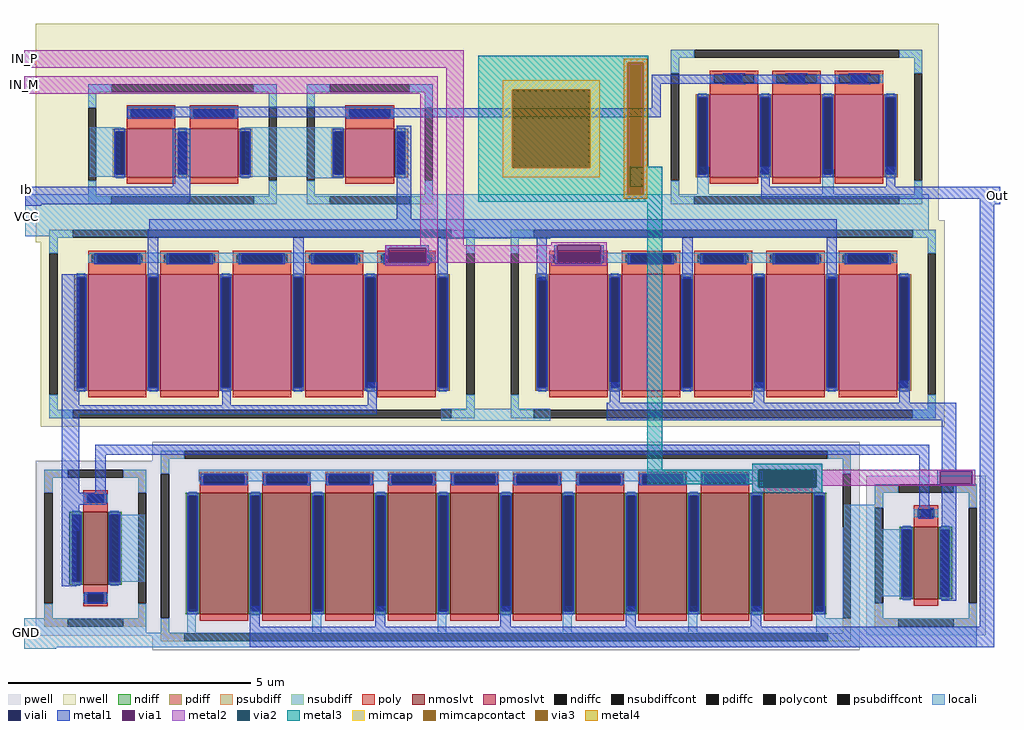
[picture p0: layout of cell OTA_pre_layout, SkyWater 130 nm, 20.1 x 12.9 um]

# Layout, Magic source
magic
tech sky130A
magscale 1 2
<< nwell >>
rect -4020 2850 -300 3660
rect -4020 2760 -275 2850
rect -4000 2088 -2725 2275
rect -2250 2000 -1900 2760
rect -1350 2508 -275 2760
<< locali >>
rect -3798 3030 -3672 3234
rect -3156 3030 -2754 3234
rect -2898 3024 -2754 3030
rect -1296 2958 -1248 3072
rect -780 2958 -732 3060
rect -4062 2784 -342 2958
rect -2350 2775 -1900 2784
rect -3798 2676 -2376 2718
rect -1884 2676 -474 2718
rect -2350 2025 -1900 2075
rect -3348 1776 -804 1824
rect -3708 1362 -3570 1638
rect -690 1584 -540 1680
rect -696 1578 -540 1584
rect -696 1302 -420 1578
rect -4068 1152 -3564 1212
rect -3396 1152 -3360 1248
rect -2880 1152 -2844 1248
rect -2364 1152 -2328 1248
rect -1848 1152 -1812 1260
rect -1332 1152 -1296 1260
rect -804 1212 -768 1260
rect -696 1212 -540 1302
rect -804 1152 -144 1212
rect -4068 1092 -144 1152
rect -4068 1086 -3936 1092
<< metal1 >>
rect -1482 3414 -546 3450
rect -3642 3312 -2550 3318
rect -1482 3312 -1446 3414
rect -3642 3276 -1446 3312
rect -3456 2988 -3384 3228
rect -4062 2928 -3384 2988
rect -4062 2922 -3390 2928
rect -4062 2916 -3396 2922
rect -4062 2910 -3996 2916
rect -2532 2856 -2472 3240
rect -1032 2988 -996 3072
rect -516 2988 -480 3072
rect -1032 2940 -48 2988
rect -132 2916 -48 2940
rect -3552 2814 -720 2856
rect -3558 2778 -720 2814
rect -3912 2088 -3840 2628
rect -3558 2616 -3516 2778
rect -2958 2616 -2916 2778
rect -2580 2736 -2400 2748
rect -2580 2676 -2568 2736
rect -2412 2676 -2400 2736
rect -2580 2664 -2400 2676
rect -2364 2616 -2322 2778
rect -1956 2604 -1914 2778
rect -1884 2676 -1872 2748
rect -1692 2676 -1680 2748
rect -1356 2610 -1314 2778
rect -762 2610 -720 2778
rect -3252 2088 -3216 2160
rect -2652 2088 -2616 2184
rect -1656 2100 -1614 2184
rect -1062 2100 -1020 2184
rect -462 2100 -420 2190
rect -3912 2052 -2616 2088
rect -3912 1728 -3840 2052
rect -1668 2028 -228 2100
rect -3774 1884 -339 1926
rect -3774 1728 -3732 1884
rect -1020 1818 -804 1824
rect -1020 1764 -990 1818
rect -828 1764 -804 1818
rect -1020 1758 -804 1764
rect -3912 1680 -3732 1728
rect -3912 1572 -3840 1680
rect -381 1623 -339 1884
rect -288 1824 -228 2028
rect -306 1818 -162 1824
rect -306 1764 -294 1818
rect -306 1758 -162 1764
rect -3912 1344 -3852 1572
rect -288 1284 -228 1758
rect -3138 1176 -3096 1260
rect -2622 1176 -2580 1260
rect -2106 1176 -2064 1260
rect -1590 1176 -1548 1260
rect -1074 1176 -1032 1260
rect -132 1176 -72 2916
rect -3138 1092 -72 1176
<< via1 >>
rect -2568 2676 -2412 2736
rect -1872 2676 -1692 2748
rect -990 1764 -828 1818
rect -294 1764 -162 1818
<< metal2 >>
rect -4068 3480 -2256 3552
rect -4068 3372 -2364 3444
rect -2436 2748 -2364 3372
rect -2580 2736 -2364 2748
rect -2580 2676 -2568 2736
rect -2412 2676 -2364 2736
rect -2328 2748 -2256 3480
rect -1896 2748 -1668 2760
rect -2328 2676 -1872 2748
rect -1692 2676 -1668 2748
rect -2580 2664 -2400 2676
rect -1896 2664 -1668 2676
rect -1068 1824 -780 1848
rect -1068 1752 -1044 1824
rect -804 1818 -150 1824
rect -804 1764 -294 1818
rect -162 1764 -150 1818
rect -804 1758 -150 1764
rect -804 1752 -780 1758
rect -1068 1728 -780 1752
<< via2 >>
rect -1044 1818 -804 1824
rect -1044 1764 -990 1818
rect -990 1764 -828 1818
rect -828 1764 -804 1818
rect -1044 1752 -804 1764
<< metal3 >>
rect -1572 2988 -1440 3072
rect -1500 1824 -1440 2988
rect -1068 1824 -780 1848
rect -1500 1764 -1044 1824
rect -1068 1752 -1044 1764
rect -804 1752 -780 1824
rect -1068 1728 -780 1752
use sky130_fd_pr__pfet_01v8_lvt_UXWVYC  XM2
transform 1 0 -3088 0 1 2424
box -912 -424 912 424
use sky130_fd_pr__nfet_01v8_lvt_9MXGXM  XM3
transform 1 0 -353 0 1 1470
box -246 -329 246 329
use sky130_fd_pr__nfet_01v8_lvt_PVELEM  XM4
transform 1 0 -3774 0 1 1500
box -246 -360 246 360
use sky130_fd_pr__pfet_01v8_lvt_P7LFVU  XM5
transform 1 0 -886 0 1 3235
box -554 -355 554 355
use sky130_fd_pr__nfet_01v8_lvt_E8GDTS  XM6
transform 1 0 -2083 0 1 1509
box -1457 -429 1457 429
use sky130_fd_pr__pfet_01v8_lvt_SPR9VP  XM7
transform 1 0 -2644 0 1 3164
box -296 -284 296 284
use sky130_fd_pr__pfet_01v8_lvt_7PHJSE  XM8
transform 1 0 -3415 0 1 3164
box -425 -284 425 284
use sky130_fd_pr__cap_mim_m3_1_FJFAMD  sky130_fd_pr__cap_mim_m3_1_FJFAMD_0
transform 1 0 -1846 0 1 3228
box -350 -300 349 300
use sky130_fd_pr__pfet_01v8_lvt_UXWVYC  sky130_fd_pr__pfet_01v8_lvt_UXWVYC_0
transform 1 0 -1188 0 1 2424
box -912 -424 912 424
<< labels >>
flabel metal2 -4068 3408 -4068 3408 0 FreeSans 80 0 0 0 IN_M
port 1 nsew
flabel metal2 -4068 3516 -4068 3516 0 FreeSans 80 0 0 0 IN_P
port 2 nsew
flabel metal1 -4056 2976 -4056 2976 0 FreeSans 80 0 0 0 Ib
port 3 nsew
flabel locali -4056 2868 -4056 2868 0 FreeSans 80 0 0 0 VCC
port 5 nsew
flabel locali -4056 1152 -4056 1152 0 FreeSans 80 0 0 0 GND
port 6 nsew
flabel metal1 -60 2952 -60 2952 0 FreeSans 80 0 0 0 Out
port 7 nsew
<< end >>

# cell sky130_fd_pr__pfet_01v8_lvt_UXWVYC: kit device sky130_fd_pr__pfet_01v8_lvt, w 2.4 l 1.2 m 1 nf 5 diffcov 100 polycov 100 guard 1 glc 1 grc 1 gtc 1 gbc 1 tbcov 100 rlcov 100 topc 1 botc 0 poverlap 0 doverlap 1 lmin 0.35 wmin 0.42 compatible {sky130_fd_pr__pfet_01v8 sky130_fd_pr__pfet_01v8_lvt sky130_fd_pr__pfet_01v8_hvt sky130_fd_pr__pfet_g5v0d10v5} full_metal 1 viasrc 100 viadrn 100 viagate 80 viagb 0 viagr 0 viagl 0 viagt 0

# cell sky130_fd_pr__nfet_01v8_lvt_9MXGXM: kit device sky130_fd_pr__nfet_01v8_lvt, w 1.5 l 0.5 m 1 nf 1 diffcov 100 polycov 100 guard 1 glc 1 grc 1 gtc 1 gbc 1 tbcov 100 rlcov 100 topc 1 botc 0 poverlap 0 doverlap 1 lmin 0.15 wmin 0.42 compatible {sky130_fd_pr__nfet_01v8 sky130_fd_pr__nfet_01v8_lvt sky130_fd_bs_flash__special_sonosfet_star sky130_fd_pr__nfet_g5v0d10v5 sky130_fd_pr__nfet_05v0_nvt sky130_fd_pr__nfet_03v3_nvt} full_metal 1 viasrc 100 viadrn 100 viagate 60 viagb 0 viagr 0 viagl 0 viagt 0

# cell sky130_fd_pr__nfet_01v8_lvt_PVELEM: kit device sky130_fd_pr__nfet_01v8_lvt, w 1.5 l 0.5 m 1 nf 1 diffcov 100 polycov 100 guard 1 glc 1 grc 1 gtc 1 gbc 1 tbcov 100 rlcov 100 topc 1 botc 1 poverlap 0 doverlap 1 lmin 0.15 wmin 0.42 compatible {sky130_fd_pr__nfet_01v8 sky130_fd_pr__nfet_01v8_lvt sky130_fd_bs_flash__special_sonosfet_star sky130_fd_pr__nfet_g5v0d10v5 sky130_fd_pr__nfet_05v0_nvt sky130_fd_pr__nfet_03v3_nvt} full_metal 1 viasrc 100 viadrn 100 viagate 100 viagb 0 viagr 0 viagl 0 viagt 0

# cell sky130_fd_pr__pfet_01v8_lvt_P7LFVU: kit device sky130_fd_pr__pfet_01v8_lvt, w 1.706 l 1.0 m 1 nf 3 diffcov 100 polycov 100 guard 1 glc 1 grc 1 gtc 1 gbc 1 tbcov 100 rlcov 100 topc 1 botc 0 poverlap 0 doverlap 1 lmin 0.35 wmin 0.42 compatible {sky130_fd_pr__pfet_01v8 sky130_fd_pr__pfet_01v8_lvt sky130_fd_pr__pfet_01v8_hvt sky130_fd_pr__pfet_g5v0d10v5} full_metal 1 viasrc 100 viadrn 100 viagate 40 viagb 0 viagr 0 viagl 0 viagt 0

# cell sky130_fd_pr__nfet_01v8_lvt_E8GDTS: kit device sky130_fd_pr__nfet_01v8_lvt, w 2.5 l 1.0 m 1 nf 10 diffcov 100 polycov 100 guard 1 glc 1 grc 1 gtc 1 gbc 1 tbcov 100 rlcov 100 topc 1 botc 0 poverlap 0 doverlap 1 lmin 0.15 wmin 0.42 compatible {sky130_fd_pr__nfet_01v8 sky130_fd_pr__nfet_01v8_lvt sky130_fd_bs_flash__special_sonosfet_star sky130_fd_pr__nfet_g5v0d10v5 sky130_fd_pr__nfet_05v0_nvt sky130_fd_pr__nfet_03v3_nvt} full_metal 1 viasrc 100 viadrn 100 viagate 100 viagb 0 viagr 0 viagl 0 viagt 0

# cell sky130_fd_pr__pfet_01v8_lvt_SPR9VP: kit device sky130_fd_pr__pfet_01v8_lvt, w 1.0 l 1.0 m 1 nf 1 diffcov 100 polycov 100 guard 1 glc 1 grc 1 gtc 1 gbc 1 tbcov 100 rlcov 100 topc 1 botc 0 poverlap 0 doverlap 1 lmin 0.35 wmin 0.42 compatible {sky130_fd_pr__pfet_01v8 sky130_fd_pr__pfet_01v8_lvt sky130_fd_pr__pfet_01v8_hvt sky130_fd_pr__pfet_g5v0d10v5} full_metal 1 viasrc 100 viadrn 100 viagate 100 viagb 0 viagr 0 viagl 0 viagt 0

# cell sky130_fd_pr__pfet_01v8_lvt_7PHJSE: kit device sky130_fd_pr__pfet_01v8_lvt, w 1 l 1 m 1 nf 2 diffcov 100 polycov 100 guard 1 glc 1 grc 1 gtc 1 gbc 1 tbcov 100 rlcov 100 topc 1 botc 0 poverlap 0 doverlap 1 lmin 0.35 wmin 0.42 compatible {sky130_fd_pr__pfet_01v8 sky130_fd_pr__pfet_01v8_lvt sky130_fd_pr__pfet_01v8_hvt sky130_fd_pr__pfet_g5v0d10v5} full_metal 1 viasrc 100 viadrn 100 viagate 100 viagb 0 viagr 0 viagl 0 viagt 0

# cell sky130_fd_pr__cap_mim_m3_1_FJFAMD: kit device sky130_fd_pr__cap_mim_m3_1, w 2.00 l 2.00 val 9.52 carea 2.00 cperi 0.19 nx 1 ny 1 dummy 0 square 0 lmin 2.00 wmin 2.00 lmax 30.0 wmax 30.0 dc 0 bconnect 1 tconnect 1 ccov 100
